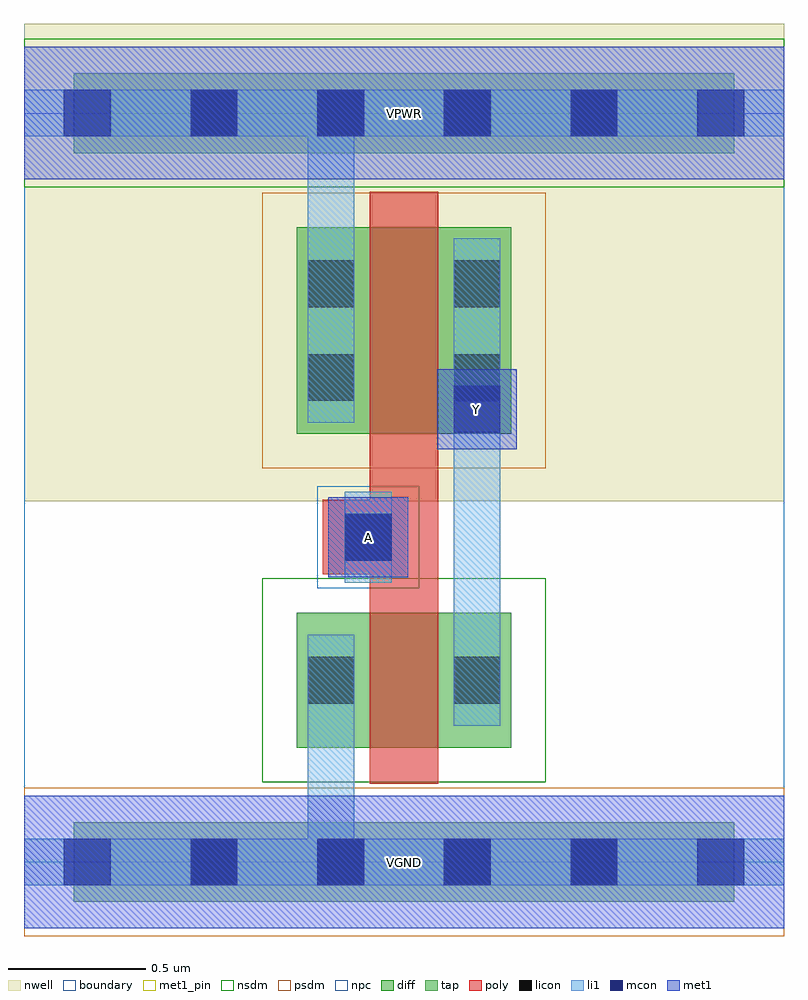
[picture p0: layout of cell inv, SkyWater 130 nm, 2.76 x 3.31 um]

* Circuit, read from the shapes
.subckt inv A VGND VPWR Y
XM1 Y A VGND VGND sky130_fd_pr__nfet_01v8 w=0.49 l=0.25
XM2 Y A VPWR VPWR sky130_fd_pr__pfet_01v8 w=0.75 l=0.25
.ends

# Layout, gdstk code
import gdstk
lib = gdstk.Library(unit=1e-6, precision=1e-09)
def R(c, l, rs):  # rectangles x0, y0, x1, y1
    for r in rs: c.add(gdstk.rectangle(r[:2], r[2:], *l))
def A(c, l, x, y, w, h, nx, ny, dx, dy):  # array of equal rectangles
    R(c, l, [(x+i*dx, y+j*dy, x+i*dx+w, y+j*dy+h) for i in range(nx) for j in range(ny)])
nwell = (64, 20)
diff = (65, 20)
tap = (65, 44)
poly = (66, 20)
licon = (66, 44)
li1 = (67, 20)
mcon = (67, 44)
met1_pin = (68, 16)
met1 = (68, 20)
nsdm = (93, 44)
psdm = (94, 20)
npc = (95, 20)
boundary = (235, 4)

inv = lib.new_cell('inv')
R(inv, nwell, [(0,1.31,2.76,3.045)])
R(inv, diff, [(0.99,0.415,1.77,0.905), (0.99,1.555,1.77,2.305)])
R(inv, tap, [(0.18,-0.145,2.58,0.145), (0.18,2.575,2.58,2.865)])
R(inv, poly, [(1.255,0.285,1.505,2.435), (1.085,1.045,1.415,1.315)])
A(inv, licon, 0.605, -0.085, 0.17, 0.17, 4, 2, 0.46, 2.72)
R(inv, licon, [(1.03,0.575,1.2,0.745), (1.56,0.575,1.73,0.745), (1.165,1.095,1.335,1.265), (1.03,1.675,1.2,1.845), (1.56,1.675,1.73,1.845), (1.03,2.015,1.2,2.185), (1.56,2.015,1.73,2.185)])
R(inv, li1, [(0,-0.085,2.76,0.085), (1.03,-0.085,1.2,0.825), (1.03,0.495,1.2,0.825), (1.56,0.495,1.73,0.825), (1.56,0.495,1.73,2.265), (1.165,1.015,1.335,1.345), (1.03,1.595,1.2,2.265), (1.03,1.595,1.2,2.805), (1.56,1.595,1.73,2.265), (0,2.635,2.76,2.805)])
A(inv, mcon, 0.145, -0.085, 0.17, 0.17, 6, 2, 0.46, 2.72)
R(inv, mcon, [(1.165,1.095,1.335,1.265), (1.56,1.56,1.73,1.73)])
R(inv, met1_pin, [(0,-0.24,2.76,0.24), (1.105,1.035,1.395,1.325), (1.5,1.5,1.79,1.79), (0,2.48,2.76,2.96)])
R(inv, met1, [(0,-0.24,2.76,0.24), (1.105,1.035,1.395,1.325), (1.5,1.5,1.79,1.79), (0,2.48,2.76,2.96)])
R(inv, nsdm, [(0.865,0.29,1.895,1.03), (0,2.45,2.76,2.99)])
R(inv, psdm, [(0,-0.27,2.76,0.27), (0.865,1.43,1.895,2.43)])
R(inv, npc, [(1.065,0.995,1.435,1.365)])
R(inv, boundary, [(0,0,2.76,2.72)])
inv.add(gdstk.Label('A', (1.25,1.18), layer=68, texttype=5))
inv.add(gdstk.Label('Y', (1.645,1.645), layer=68, texttype=5))
inv.add(gdstk.Label('VPWR', (1.38,2.72), layer=68, texttype=5))
inv.add(gdstk.Label('VGND', (1.38,0), layer=68, texttype=5))
inv.add(gdstk.Label('A', (1.25,1.18), layer=68, texttype=16))
inv.add(gdstk.Label('Y', (1.645,1.645), layer=68, texttype=16))
inv.add(gdstk.Label('VPWR', (1.38,2.72), layer=68, texttype=16))
inv.add(gdstk.Label('VGND', (1.38,0), layer=68, texttype=16))

lib.write_gds('inv.gds')
